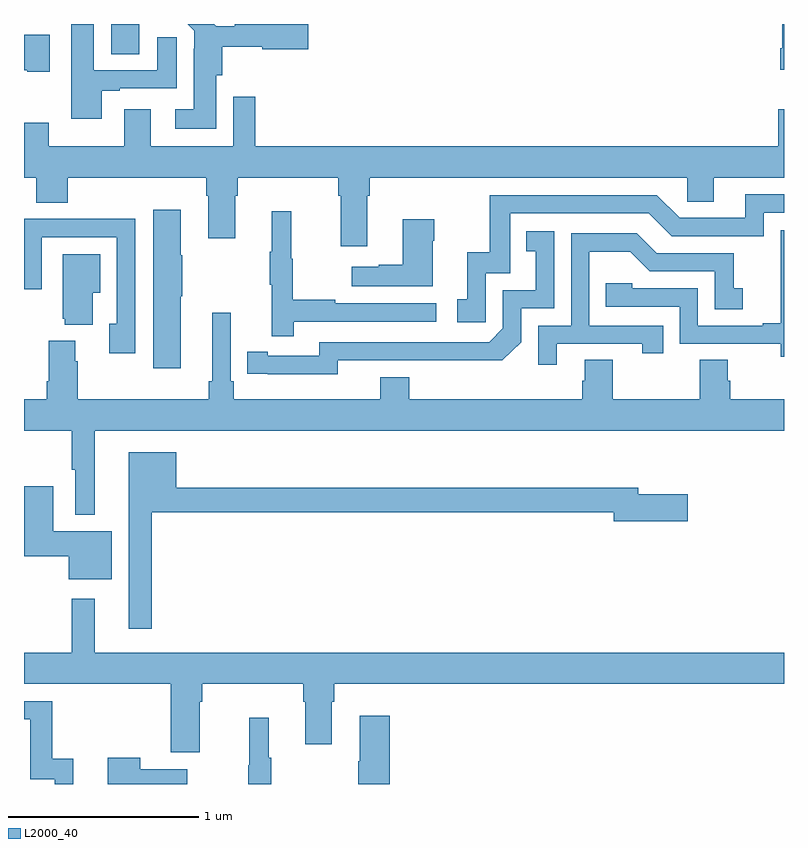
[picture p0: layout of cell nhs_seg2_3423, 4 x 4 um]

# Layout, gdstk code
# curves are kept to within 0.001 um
import gdstk
lib = gdstk.Library(unit=1e-6, precision=1e-09)
def R(c, l, rs):  # rectangles x0, y0, x1, y1
    for r in rs: c.add(gdstk.rectangle(r[:2], r[2:], *l))
def P(c, l, *ps):  # polygons
    for p in ps: c.add(gdstk.Polygon(p, *l))
L2000_40 = (2000, 40)

nhs_seg2_3423 = lib.new_cell('nhs_seg2_3423')
R(nhs_seg2_3423, L2000_40, [(291.458,625.642,291.607,625.8)])
P(nhs_seg2_3423, L2000_40, [(295,625.8),(294.992,625.8),(294.992,625.672),(294.98,625.672),(294.98,625.56),(295,625.56)],
  [(291.409,625.449),(291.505,625.449),(291.505,625.461),(291.805,625.461),(291.805,625.729),(291.701,625.729),(291.701,625.557),(291.367,625.557),(291.367,625.8),(291.248,625.8),(291.248,625.302),(291.409,625.302)],
  [(292.012,625.53),(292.043,625.53),(292.043,625.679),(292.254,625.679),(292.254,625.667),(292.495,625.667),(292.495,625.8),(292.11,625.8),(292.11,625.789),(292.011,625.789),(292,625.8),(291.861,625.8),(291.897,625.764),(291.897,625.67),(291.893,625.67),(291.893,625.351),(291.795,625.351),(291.795,625.25),(292.012,625.25)],
  [(291.136,625.744),(291,625.744),(291,625.556),(291.018,625.556),(291.018,625.55),(291.136,625.55)],
  [(292.807,624.896),(292.82,624.896),(292.82,624.992),(294.492,624.992),(294.492,624.865),(294.631,624.865),(294.631,624.992),(295,624.992),(295,625.351),(294.971,625.351),(294.971,625.156),(292.217,625.156),(292.217,625.417),(292.101,625.417),(292.101,625.156),(291.667,625.156),(291.667,625.351),(291.527,625.351),(291.527,625.156),(291.129,625.156),(291.129,625.28),(291,625.28),(291,624.992),(291.065,624.992),(291.065,624.859),(291.23,624.859),(291.23,624.992),(291.959,624.992),(291.959,624.896),(291.971,624.896),(291.971,624.672),(292.111,624.672),(292.111,624.896),(292.124,624.896),(292.124,624.992),(292.655,624.992),(292.655,624.896),(292.667,624.896),(292.667,624.63),(292.807,624.63)],
  [(293.43,624.489),(293.559,624.489),(293.559,624.804),(294.288,624.804),(294.408,624.684),(294.894,624.684),(294.894,624.807),(295,624.807),(295,624.903),(294.797,624.903),(294.797,624.78),(294.45,624.78),(294.33,624.9),(293.451,624.9),(293.451,624.598),(293.333,624.598),(293.333,624.351),(293.28,624.351),(293.28,624.231),(293.43,624.231)],
  [(291.826,624.367),(291.834,624.367),(291.834,624.584),(291.826,624.584),(291.826,624.823),(291.68,624.823),(291.68,623.988),(291.826,623.988)],
  [(292.421,624.234),(293.17,624.234),(293.17,624.33),(292.637,624.33),(292.637,624.35),(292.414,624.35),(292.414,624.564),(292.406,624.564),(292.406,624.814),(292.304,624.814),(292.304,624.601),(292.293,624.601),(292.293,624.427),(292.304,624.427),(292.304,624.156),(292.421,624.156)],
  [(291.585,624.776),(291.313,624.776),(291.313,624.774),(291,624.774),(291,624.405),(291.093,624.405),(291.093,624.678),(291.489,624.678),(291.489,624.222),(291.449,624.222),(291.449,624.066),(291.585,624.066)],
  [(293.152,624.659),(293.16,624.659),(293.16,624.772),(292.994,624.772),(292.994,624.533),(292.868,624.533),(292.868,624.523),(292.725,624.523),(292.725,624.419),(293.152,624.419)],
  [(295,624.715),(294.982,624.715),(294.982,624.509),(294.983,624.509),(294.983,624.226),(294.887,624.226),(294.887,624.213),(294.546,624.213),(294.546,624.408),(294.201,624.408),(294.201,624.435),(294.061,624.435),(294.061,624.312),(294.45,624.312),(294.45,624.117),(294.984,624.117),(294.984,624.049),(295,624.049)],
  [(292.65,624.03),(293.518,624.029),(293.616,624.126),(293.616,624.303),(293.79,624.303),(293.79,624.709),(293.644,624.709),(293.644,624.603),(293.693,624.603),(293.693,624.399),(293.52,624.399),(293.52,624.198),(293.448,624.126),(292.554,624.126),(292.554,624.054),(292.282,624.054),(292.282,624.074),(292.174,624.074),(292.174,623.958),(292.65,623.957)],
  [(293.803,624.117),(294.254,624.117),(294.254,624.066),(294.365,624.066),(294.365,624.213),(293.976,624.213),(293.976,624.602),(294.19,624.602),(294.294,624.498),(294.636,624.498),(294.636,624.3),(294.784,624.3),(294.784,624.409),(294.735,624.409),(294.735,624.594),(294.331,624.594),(294.226,624.699),(293.88,624.699),(293.88,624.213),(293.706,624.213),(293.706,624.006),(293.803,624.006)],
  [(291.361,624.386),(291.4,624.386),(291.4,624.589),(291.203,624.589),(291.203,624.249),(291.215,624.249),(291.215,624.218),(291.361,624.218)],
  [(291.373,623.66),(295,623.66),(295,623.824),(294.716,623.824),(294.716,623.922),(294.703,623.922),(294.703,624.032),(294.556,624.032),(294.556,623.824),(294.099,623.824),(294.099,624.032),(293.951,624.032),(293.951,623.922),(293.939,623.922),(293.939,623.824),(293.027,623.824),(293.027,623.941),(292.874,623.941),(292.874,623.824),(292.103,623.824),(292.103,623.92),(292.089,623.92),(292.089,624.28),(291.992,624.28),(291.992,623.92),(291.973,623.92),(291.973,623.824),(291.284,623.824),(291.284,624.026),(291.271,624.026),(291.271,624.133),(291.131,624.133),(291.131,623.92),(291.119,623.92),(291.119,623.824),(291,623.824),(291,623.66),(291.252,623.66),(291.252,623.455),(291.269,623.455),(291.269,623.216),(291.373,623.216)],
  [(291.673,623.23),(294.104,623.23),(294.104,623.183),(294.493,623.183),(294.493,623.325),(294.232,623.325),(294.232,623.359),(291.802,623.359),(291.802,623.545),(291.551,623.545),(291.551,622.617),(291.673,622.617)],
  [(291.463,623.131),(291.154,623.131),(291.154,623.368),(291,623.368),(291,623),(291.236,623),(291.236,622.877),(291.463,622.877)],
  [(291.925,622.232),(291.938,622.232),(291.938,622.328),(292.469,622.328),(292.469,622.232),(292.481,622.232),(292.481,622.008),(292.621,622.008),(292.621,622.232),(292.634,622.232),(292.634,622.328),(295,622.328),(295,622.492),(291.373,622.492),(291.373,622.774),(291.252,622.774),(291.252,622.492),(291,622.492),(291,622.328),(291.773,622.328),(291.773,621.966),(291.925,621.966)],
  [(291.26,621.934),(291.149,621.934),(291.149,622.236),(291,622.236),(291,622.14),(291.033,622.14),(291.033,621.825),(291.162,621.825),(291.162,621.8),(291.26,621.8)],
  [(292.925,622.159),(292.766,622.159),(292.766,621.92),(292.759,621.92),(292.759,621.8),(292.925,621.8)],
  [(292.3,621.937),(292.289,621.937),(292.289,622.15),(292.186,622.15),(292.186,621.9),(292.179,621.9),(292.179,621.8),(292.3,621.8)],
  [(291.859,621.877),(291.611,621.877),(291.611,621.937),(291.44,621.937),(291.44,621.8),(291.859,621.8)])

lib.write_gds('nhs_seg2_3423.gds')
